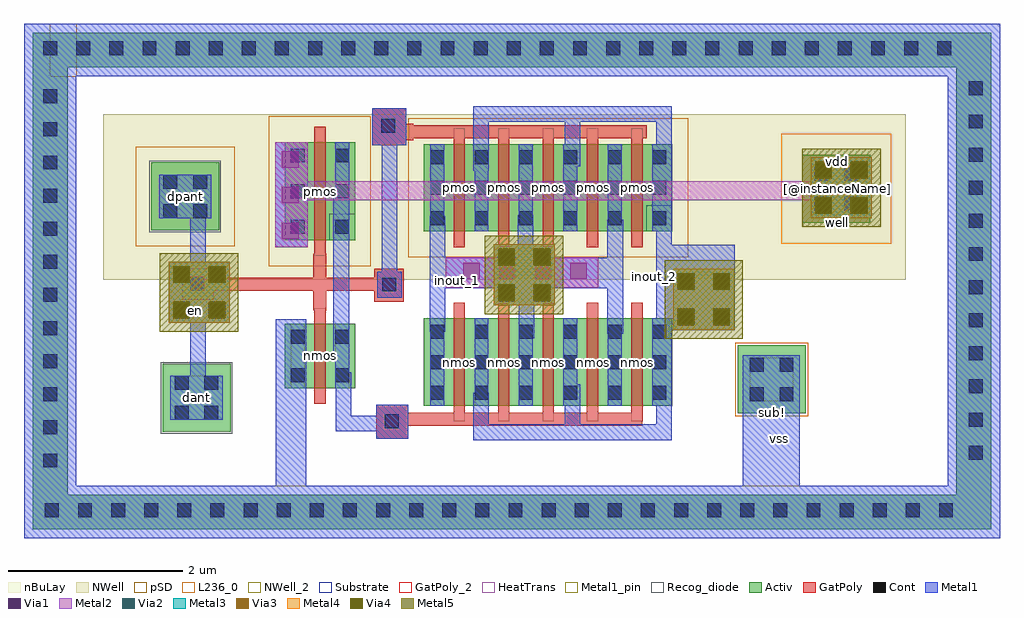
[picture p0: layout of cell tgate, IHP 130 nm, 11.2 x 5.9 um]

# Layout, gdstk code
import gdstk
lib = gdstk.Library(unit=1e-6, precision=1e-09)
def R(c, l, rs):  # rectangles x0, y0, x1, y1
    for r in rs: c.add(gdstk.rectangle(r[:2], r[2:], *l))
def A(c, l, x, y, w, h, nx, ny, dx, dy):  # array of equal rectangles
    R(c, l, [(x+i*dx, y+j*dy, x+i*dx+w, y+j*dy+h) for i in range(nx) for j in range(ny)])
def P(c, l, *ps):  # polygons
    for p in ps: c.add(gdstk.Polygon(p, *l))
Activ = (1, 0)
GatPoly = (5, 0)
GatPoly_2 = (5, 2)
Cont = (6, 0)
Metal1 = (8, 0)
Metal1_pin = (8, 2)
Metal2 = (10, 0)
pSD = (14, 0)
Via1 = (19, 0)
Via2 = (29, 0)
Metal3 = (30, 0)
NWell = (31, 0)
NWell_2 = (31, 2)
nBuLay = (32, 0)
Substrate = (40, 0)
Via3 = (49, 0)
Metal4 = (50, 0)
HeatTrans = (51, 0)
Via4 = (66, 0)
Metal5 = (67, 0)
Recog_diode = (99, 31)
L236_0 = (236, 0)

tgate = lib.new_cell('tgate')
A(tgate, Activ, -2.71, 3.42, 0.3, 0.3, 6, 2, 0.51, 2)
R(tgate, Activ, [(-5.71,3.12,-4.93,3.9), (0.89,3.33,1.67,4.11), (-2.71,3.42,0.14,4.42), (-4.31,3.62,-4.01,3.92), (-4.31,3.62,-3.5,4.36), (-3.8,3.62,-3.5,3.92), (-4.31,5.32,-4.01,5.62), (-4.31,5.32,-3.5,6.44), (-3.8,5.32,-3.5,5.62), (-2.71,5.42,0.14,6.42), (-5.84,5.43,-5.06,6.21), (1.63,5.52,2.41,6.3)])
P(tgate, Activ, [(-7.2,2),(-7.2,7.3),(-6.8,7.3),(-6.8,2.4),(3.4,2.4),(3.4,7.3),(-7.2,7.3),(-7.2,7.7),(3.8,7.7),(3.8,2)])
A(tgate, GatPoly, -2.37, 3.24, 0.13, 1.36, 5, 2, 0.51, 2)
R(tgate, GatPoly, [(-3.97,3.44,-3.84,4.54), (-3.97,5.14,-3.84,6.62), (-3.97,5.14,-3.84,6.62), (-3.97,5.14,-3.84,6.62), (-2.37,5.24,-2.24,6.6), (-2.37,5.24,-2.24,6.6)])
P(tgate, GatPoly, [(-3.98,4.515),(-3.98,4.74),(-5.12,4.74),(-5.12,4.63),(-5.49,4.63),(-5.49,5),(-5.12,5),(-5.12,4.89),(-3.98,4.89),(-3.98,5.165),(-3.83,5.165),(-3.83,4.89),(-3.28,4.89),(-3.28,4.99),(-2.94,4.99),(-2.94,4.61),(-3.28,4.61),(-3.28,4.74),(-3.83,4.74),(-3.83,4.515)],
  [(-3.26,3.04),(-3.26,3.43),(-2.89,3.43),(-2.89,3.34),(-0.205,3.34),(-0.205,3.19),(-2.89,3.19),(-2.89,3.04)],
  [(-3.305,6.405),(-3.305,6.835),(-2.915,6.835),(-2.915,6.655),(-2.835,6.655),(-2.835,6.64),(-0.155,6.64),(-0.155,6.49),(-2.835,6.49),(-2.835,6.465),(-2.915,6.465),(-2.915,6.405)])
R(tgate, GatPoly_2, [(-2.37,3.24,-2.24,4.6), (-2.37,3.24,-2.24,4.6), (-3.97,3.44,-3.84,4.54), (-3.97,3.44,-3.84,4.54)])
A(tgate, Cont, -7.08, 2.71, 0.16, 0.16, 1, 3, 0, 0.38)
A(tgate, Cont, -7.08, 3.47, 0.16, 0.16, 1, 10, 0, 0.38)
A(tgate, Cont, -2.64, 3.49, 0.16, 0.16, 6, 3, 0.51, 0.35)
A(tgate, Cont, -4.24, 5.39, 0.16, 0.16, 1, 3, 0, 0.41)
A(tgate, Cont, -3.73, 5.39, 0.16, 0.16, 1, 3, 0, 0.41)
A(tgate, Cont, -2.64, 5.49, 0.16, 0.16, 6, 3, 0.51, 0.35)
A(tgate, Cont, 3.54, 6.22, 0.16, 0.16, 1, 3, 0, 0.38)
A(tgate, Cont, -7.08, 7.44, 0.16, 0.16, 24, 1, 0.38, 0)
R(tgate, Cont, [(-7.06,2.14,-6.9,2.3), (-6.68,2.14,-6.52,2.3), (-6.68,2.14,-6.52,2.3), (-6.3,2.14,-6.14,2.3), (-6.3,2.14,-6.14,2.3), (-5.92,2.14,-5.76,2.3), (-5.92,2.14,-5.76,2.3), (-5.54,2.14,-5.38,2.3), (-5.54,2.14,-5.38,2.3), (-5.16,2.14,-5,2.3), (-5.16,2.14,-5,2.3), (-4.78,2.14,-4.62,2.3), (-4.78,2.14,-4.62,2.3), (-4.4,2.14,-4.24,2.3), (-4.4,2.14,-4.24,2.3), (-4.02,2.14,-3.86,2.3), (-4.02,2.14,-3.86,2.3), (-3.64,2.14,-3.48,2.3), (-3.64,2.14,-3.48,2.3), (-3.26,2.14,-3.1,2.3), (-3.26,2.14,-3.1,2.3), (-2.88,2.14,-2.72,2.3), (-2.88,2.14,-2.72,2.3), (-2.5,2.14,-2.34,2.3), (-2.5,2.14,-2.34,2.3), (-2.12,2.14,-1.96,2.3), (-2.12,2.14,-1.96,2.3), (-1.74,2.14,-1.58,2.3), (-1.74,2.14,-1.58,2.3), (-1.36,2.14,-1.2,2.3), (-1.36,2.14,-1.2,2.3), (-0.98,2.14,-0.82,2.3), (-0.98,2.14,-0.82,2.3), (-0.6,2.14,-0.44,2.3), (-0.6,2.14,-0.44,2.3), (-0.22,2.14,-0.06,2.3), (-0.22,2.14,-0.06,2.3), (0.16,2.14,0.32,2.3), (0.16,2.14,0.32,2.3), (0.54,2.14,0.7,2.3), (0.54,2.14,0.7,2.3), (0.92,2.14,1.08,2.3), (0.92,2.14,1.08,2.3), (1.3,2.14,1.46,2.3), (1.3,2.14,1.46,2.3), (1.3,2.14,1.46,2.3), (1.68,2.14,1.84,2.3), (1.68,2.14,1.84,2.3), (2.06,2.14,2.22,2.3), (2.06,2.14,2.22,2.3), (2.44,2.14,2.6,2.3), (2.44,2.14,2.6,2.3), (2.82,2.14,2.98,2.3), (2.82,2.14,2.98,2.3), (3.2,2.14,3.36,2.3), (3.2,2.14,3.36,2.3), (3.54,2.8,3.7,2.96), (-3.16,3.16,-3,3.32), (3.54,3.18,3.7,3.34), (3.54,3.18,3.7,3.34), (3.54,3.18,3.7,3.34), (-5.57,3.26,-5.41,3.42), (-5.23,3.26,-5.07,3.42), (1.03,3.47,1.19,3.63), (1.37,3.47,1.53,3.63), (3.54,3.56,3.7,3.72), (3.54,3.56,3.7,3.72), (3.54,3.56,3.7,3.72), (-5.57,3.6,-5.41,3.76), (-5.23,3.6,-5.07,3.76), (-4.24,3.69,-4.08,3.85), (-3.73,3.69,-3.57,3.85), (1.03,3.81,1.19,3.97), (1.37,3.81,1.53,3.97), (3.54,3.94,3.7,4.1), (3.54,3.94,3.7,4.1), (-4.24,4.13,-4.08,4.29), (-3.73,4.13,-3.57,4.29), (3.54,4.32,3.7,4.48), (3.54,4.32,3.7,4.48), (3.54,4.7,3.7,4.86), (3.54,4.7,3.7,4.86), (-3.19,4.73,-3.03,4.89), (-5.39,4.74,-5.23,4.9), (3.54,5.08,3.7,5.24), (3.54,5.08,3.7,5.24), (3.54,5.46,3.7,5.62), (3.54,5.46,3.7,5.62), (-5.7,5.57,-5.54,5.73), (-5.36,5.57,-5.2,5.73), (1.77,5.66,1.93,5.82), (2.11,5.66,2.27,5.82), (3.54,5.84,3.7,6), (3.54,5.84,3.7,6), (-5.7,5.91,-5.54,6.07), (-5.36,5.91,-5.2,6.07), (1.77,6,1.93,6.16), (2.11,6,2.27,6.16), (3.54,6.22,3.7,6.38), (-3.2,6.55,-3.04,6.71), (1.66,7.44,1.82,7.6), (1.66,7.44,1.82,7.6), (2.04,7.44,2.2,7.6), (2.04,7.44,2.2,7.6), (2.42,7.44,2.58,7.6), (2.42,7.44,2.58,7.6), (2.8,7.44,2.96,7.6), (2.8,7.44,2.96,7.6), (3.18,7.44,3.34,7.6), (3.18,7.44,3.34,7.6)])
A(tgate, Metal1, -2.64, 3.42, 0.16, 1, 6, 1, 0.51, 0)
A(tgate, Metal1, -2.13, 5.42, 0.16, 1, 5, 1, 0.51, 0)
R(tgate, Metal1, [(-5.62,3.26,-5.02,3.76), (-3.73,3.62,-3.57,4.36), (-3.75,3.97,-3.57,5.87), (0.15,4.29,0.85,4.99), (0.15,4.29,0.85,4.99), (-5.64,4.37,-4.94,5.07), (-5.64,4.37,-4.94,5.07), (-4.24,5.32,-4.08,6.44), (-4.24,5.32,-4.08,6.44), (-4.24,5.32,-4.08,6.44), (-3.73,5.32,-3.57,6.44), (-3.73,5.32,-3.57,6.44), (-3.73,5.32,-3.57,6.44), (-2.64,5.42,-2.48,6.42), (-2.64,5.42,-2.48,6.42), (-2.64,5.42,-2.48,6.42), (-2.13,5.42,-1.97,6.42), (-2.13,5.42,-1.97,6.42), (-5.75,5.57,-5.15,6.07), (1.73,5.57,2.43,6.27), (1.77,5.61,2.27,6.21)])
P(tgate, Metal1, [(-7.3,1.9),(-7.3,7.2),(-6.7,7.2),(-6.7,2.5),(-4.41,2.5),(-4.41,4.41),(-4.06,4.41),(-4.06,2.5),(0.95,2.5),(0.95,3.4),(0.95,4),(1.6,4),(1.6,3.4),(1.6,2.5),(3.3,2.5),(3.3,7.2),(-7.3,7.2),(-7.3,7.8),(3.9,7.8),(3.9,1.9)],
  [(-3.26,3.04),(-3.26,3.125),(-3.725,3.125),(-3.725,3.805),(-3.545,3.805),(-3.545,3.305),(-3.26,3.305),(-3.26,3.43),(-2.89,3.43),(-2.89,3.04)],
  [(-2.145,3.025),(-2.145,3.565),(-1.965,3.565),(-1.965,3.205),(-1.095,3.205),(-1.095,3.665),(-0.915,3.665),(-0.915,3.205),(-0.045,3.205),(-0.045,6.675),(-0.915,6.675),(-0.915,6.165),(-1.095,6.165),(-1.095,6.675),(-1.965,6.675),(-1.965,6.115),(-2.145,6.115),(-2.145,6.855),(0.135,6.855),(0.135,5.265),(0.855,5.265),(0.855,4.285),(0.135,4.285),(0.135,3.025)],
  [(-4.415,5.235),(-4.415,5.65),(-4.415,5.98),(-4.415,6.445),(-4.045,6.445),(-4.045,5.235)],
  [(-5.395,3.425),(-5.395,4.665),(-5.455,4.665),(-5.455,4.965),(-5.395,4.965),(-5.395,5.865),(-5.215,5.865),(-5.215,4.965),(-5.155,4.965),(-5.155,4.665),(-5.215,4.665),(-5.215,3.425)],
  [(-1.625,4.195),(-1.625,4.765),(-2.455,4.765),(-2.465,4.765),(-2.465,4.265),(-2.645,4.265),(-2.645,5.595),(-2.465,5.595),(-2.465,5.115),(-2.455,5.115),(-1.635,5.115),(-1.635,5.605),(-1.455,5.605),(-1.455,5.115),(-0.705,5.115),(-0.605,5.115),(-0.605,5.555),(-0.425,5.555),(-0.425,4.245),(-0.605,4.245),(-0.605,4.765),(-0.665,4.765),(-0.705,4.765),(-1.445,4.765),(-1.445,4.195)],
  [(-3.245,4.655),(-3.245,4.955),(-3.195,4.955),(-3.195,6.405),(-3.305,6.405),(-3.305,6.835),(-2.915,6.835),(-2.915,6.405),(-3.015,6.405),(-3.015,4.955),(-2.965,4.955),(-2.965,4.655)])
R(tgate, Metal1_pin, [(-5.62,3.26,-5.02,3.76), (-2.64,3.42,-2.48,4.42), (-2.64,3.42,-2.48,4.42), (-2.13,3.42,-1.97,4.42), (-2.13,3.42,-1.97,4.42), (1.03,3.47,1.53,3.97), (-4.24,3.62,-4.08,4.36), (-4.24,3.62,-4.08,4.36), (-3.73,3.62,-3.57,4.36), (-3.73,3.62,-3.57,4.36), (-5.75,5.57,-5.15,6.07), (1.77,5.61,2.27,6.21)])
R(tgate, Metal2, [(0.15,4.29,0.85,4.99), (0.15,4.29,0.85,4.99), (-5.64,4.37,-4.94,5.07), (-5.64,4.37,-4.94,5.07), (-1.91,4.57,-1.21,5.27), (-1.91,4.57,-1.21,5.27), (-2.46,4.77,-0.71,5.12), (1.73,5.57,2.43,6.27)])
P(tgate, Metal2, [(-4.415,5.235),(-4.415,6.445),(-4.045,6.445),(-4.045,5.995),(2.2,5.995),(2.2,5.89),(2.2,5.775),(-4.045,5.775),(-4.045,5.235)])
R(tgate, pSD, [(0.86,3.3,1.7,4.14), (-4.49,5.02,-3.32,6.74), (-2.89,5.12,0.32,6.72), (-6.02,5.25,-4.88,6.39)])
P(tgate, pSD, [(-7.3,1.9),(-7.3,7.8),(-6.7,7.8),(-6.7,2.5),(3.3,2.5),(3.3,7.2),(-7,7.2),(-7,7.8),(3.9,7.8),(3.9,1.9)])
A(tgate, Via1, -2.26, 4.87, 0.19, 0.19, 4, 1, 0.41, 0)
A(tgate, Via1, -4.34, 5.33, 0.19, 0.19, 1, 3, 0, 0.41)
R(tgate, Via1, [(0.2,4.34,0.39,4.53), (0.61,4.34,0.8,4.53), (-5.59,4.42,-5.4,4.61), (-5.18,4.42,-4.99,4.61), (0.2,4.75,0.39,4.94), (0.61,4.75,0.8,4.94), (-5.59,4.83,-5.4,5.02), (-5.18,4.83,-4.99,5.02), (1.78,5.62,1.97,5.81), (2.19,5.62,2.38,5.81), (1.78,6.03,1.97,6.22), (2.19,6.03,2.38,6.22)])
R(tgate, Via2, [(0.2,4.34,0.39,4.53), (0.2,4.34,0.39,4.53), (0.61,4.34,0.8,4.53), (0.61,4.34,0.8,4.53), (-5.59,4.42,-5.4,4.61), (-5.59,4.42,-5.4,4.61), (-5.18,4.42,-4.99,4.61), (-5.18,4.42,-4.99,4.61), (-1.86,4.62,-1.67,4.81), (-1.45,4.62,-1.26,4.81), (0.2,4.75,0.39,4.94), (0.2,4.75,0.39,4.94), (0.61,4.75,0.8,4.94), (0.61,4.75,0.8,4.94), (-5.59,4.83,-5.4,5.02), (-5.59,4.83,-5.4,5.02), (-5.18,4.83,-4.99,5.02), (-5.18,4.83,-4.99,5.02), (-1.86,5.03,-1.67,5.22), (-1.45,5.03,-1.26,5.22), (1.78,5.62,1.97,5.81), (2.19,5.62,2.38,5.81), (1.78,6.03,1.97,6.22), (2.19,6.03,2.38,6.22)])
R(tgate, Metal3, [(0.15,4.29,0.85,4.99), (0.15,4.29,0.85,4.99), (-5.64,4.37,-4.94,5.07), (-5.64,4.37,-4.94,5.07), (-1.91,4.57,-1.21,5.27), (-1.91,4.57,-1.21,5.27), (1.73,5.57,2.43,6.27)])
R(tgate, NWell, [(-4.62,5.01,-3.19,6.75), (-3.02,5.11,0.45,6.73), (1.39,5.28,2.65,6.54)])
P(tgate, NWell, [(-6.39,4.865),(-6.39,6.765),(2.82,6.765),(2.82,6.565),(2.82,4.865)])
R(tgate, NWell_2, [(1.63,5.52,2.41,6.3)])
R(tgate, nBuLay, [(1.39,5.28,2.65,6.54)])
R(tgate, Substrate, [(0.89,3.33,1.67,4.11), (-3.8,5.32,-3.5,5.62), (-3.8,5.32,-3.5,5.62), (-0.16,5.42,0.14,5.72), (-0.16,5.42,0.14,5.72)])
R(tgate, Via3, [(0.2,4.34,0.39,4.53), (0.2,4.34,0.39,4.53), (0.61,4.34,0.8,4.53), (0.61,4.34,0.8,4.53), (-5.59,4.42,-5.4,4.61), (-5.59,4.42,-5.4,4.61), (-5.18,4.42,-4.99,4.61), (-5.18,4.42,-4.99,4.61), (-1.86,4.62,-1.67,4.81), (-1.45,4.62,-1.26,4.81), (0.2,4.75,0.39,4.94), (0.2,4.75,0.39,4.94), (0.61,4.75,0.8,4.94), (0.61,4.75,0.8,4.94), (-5.59,4.83,-5.4,5.02), (-5.59,4.83,-5.4,5.02), (-5.18,4.83,-4.99,5.02), (-5.18,4.83,-4.99,5.02), (-1.86,5.03,-1.67,5.22), (-1.45,5.03,-1.26,5.22), (1.78,5.62,1.97,5.81), (2.19,5.62,2.38,5.81), (1.78,6.03,1.97,6.22), (2.19,6.03,2.38,6.22)])
R(tgate, Metal4, [(0.15,4.29,0.85,4.99), (-5.64,4.37,-4.94,5.07), (-1.91,4.57,-1.21,5.27), (1.73,5.57,2.43,6.27)])
A(tgate, HeatTrans, -2.37, 3.24, 0.13, 1.36, 5, 2, 0.51, 2)
R(tgate, HeatTrans, [(-3.97,3.44,-3.84,4.54), (-3.97,5.14,-3.84,6.62)])
R(tgate, Via4, [(0.2,4.34,0.39,4.53), (0.2,4.34,0.39,4.53), (0.61,4.34,0.8,4.53), (0.61,4.34,0.8,4.53), (-5.59,4.42,-5.4,4.61), (-5.59,4.42,-5.4,4.61), (-5.18,4.42,-4.99,4.61), (-5.18,4.42,-4.99,4.61), (-1.86,4.62,-1.67,4.81), (-1.45,4.62,-1.26,4.81), (0.2,4.75,0.39,4.94), (0.2,4.75,0.39,4.94), (0.61,4.75,0.8,4.94), (0.61,4.75,0.8,4.94), (-5.59,4.83,-5.4,5.02), (-5.59,4.83,-5.4,5.02), (-5.18,4.83,-4.99,5.02), (-5.18,4.83,-4.99,5.02), (-1.86,5.03,-1.67,5.22), (-1.45,5.03,-1.26,5.22), (1.78,5.62,1.97,5.81), (2.19,5.62,2.38,5.81), (1.78,6.03,1.97,6.22), (2.19,6.03,2.38,6.22)])
R(tgate, Metal5, [(0.05,4.19,0.95,5.09), (0.05,4.19,0.95,5.09), (-5.74,4.27,-4.84,5.17), (-5.74,4.27,-4.84,5.17), (-2.01,4.47,-1.11,5.37), (-2.01,4.47,-1.11,5.37), (1.63,5.47,2.53,6.37)])
R(tgate, Recog_diode, [(-5.73,3.1,-4.91,3.92), (-5.86,5.41,-5.04,6.23)])
R(tgate, L236_0, [(1.39,5.28,2.65,6.54)])
tgate.add(gdstk.Label('well', (2.03,5.52), layer=63, texttype=0))
tgate.add(gdstk.Label('pmos', (-2.3,5.92), layer=63, texttype=0))
tgate.add(gdstk.Label('pmos', (-3.9,5.88), layer=63, texttype=0))
tgate.add(gdstk.Label('dant', (-5.315,3.51), layer=63, texttype=0))
tgate.add(gdstk.Label('dpant', (-5.445,5.82), layer=63, texttype=0))
tgate.add(gdstk.Label('sub!', (1.285,3.34), layer=63, texttype=0))
tgate.add(gdstk.Label('nmos', (-2.3,3.92), layer=51, texttype=0))
tgate.add(gdstk.Label('nmos', (-1.79,3.92), layer=51, texttype=0))
tgate.add(gdstk.Label('nmos', (-1.28,3.92), layer=51, texttype=0))
tgate.add(gdstk.Label('nmos', (-0.77,3.92), layer=51, texttype=0))
tgate.add(gdstk.Label('nmos', (-0.26,3.92), layer=51, texttype=0))
tgate.add(gdstk.Label('pmos', (-2.3,5.92), layer=51, texttype=0))
tgate.add(gdstk.Label('pmos', (-1.79,5.92), layer=51, texttype=0))
tgate.add(gdstk.Label('pmos', (-1.28,5.92), layer=51, texttype=0))
tgate.add(gdstk.Label('pmos', (-0.77,5.92), layer=51, texttype=0))
tgate.add(gdstk.Label('pmos', (-0.26,5.92), layer=51, texttype=0))
tgate.add(gdstk.Label('nmos', (-3.9,3.99), layer=51, texttype=0))
tgate.add(gdstk.Label('pmos', (-3.9,5.88), layer=51, texttype=0))
tgate.add(gdstk.Label('[@instanceName]', (2.03,5.91), layer=236, texttype=1))
tgate.add(gdstk.Label('vdd', (2.04,6.22), layer=8, texttype=25))
tgate.add(gdstk.Label('vss', (1.375,3.04), layer=8, texttype=25))
tgate.add(gdstk.Label('inout_2', (-0.065,4.9), layer=8, texttype=25))
tgate.add(gdstk.Label('en', (-5.335,4.51), layer=8, texttype=25))
tgate.add(gdstk.Label('inout_1', (-2.325,4.86), layer=8, texttype=25))

lib.write_gds('tgate.gds')
